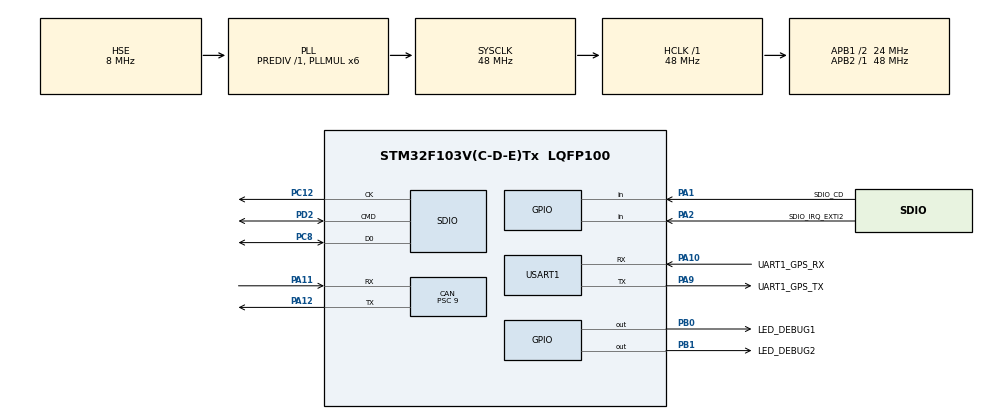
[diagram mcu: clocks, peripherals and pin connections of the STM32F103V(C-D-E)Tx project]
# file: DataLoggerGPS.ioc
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CAN.BS1=CAN_BS1_10TQ
CAN.BS2=CAN_BS2_5TQ
CAN.CalculateTimeBit=6000
CAN.CalculateTimeQuantum=375.0
CAN.Prescaler=9
CAN.SJW=CAN_SJW_3TQ
Mcu.Family=STM32F1
Mcu.Name=STM32F103V(C-D-E)Tx
Mcu.Package=LQFP100
NVIC.CAN1_RX1_IRQn=true\:0\:0\:false\:false\:true\:true
NVIC.PriorityGroup=NVIC_PRIORITYGROUP_4
NVIC.RTC_IRQn=true\:0\:0\:false\:false\:true\:true
NVIC.SDIO_IRQn=true\:0\:0\:false\:false\:true\:true
OSC_IN.Mode=HSE-External-Oscillator
OSC_IN.Signal=RCC_OSC_IN
OSC_OUT.Mode=HSE-External-Oscillator
OSC_OUT.Signal=RCC_OSC_OUT
PA1.GPIO_Label=SDIO_CD
PA1.Signal=GPIO_Input
PA10.GPIO_Label=UART1_GPS_RX
PA10.Mode=Asynchronous
PA10.Signal=USART1_RX
PA11.Mode=Master
PA11.Signal=CAN_RX
PA12.Mode=Master
PA12.Signal=CAN_TX
PA13.Mode=Trace_Asynchronous_SW
PA13.Signal=SYS_JTMS-SWDIO
PA14.Mode=Trace_Asynchronous_SW
PA14.Signal=SYS_JTCK-SWCLK
PA2.GPIO_Label=SDIO_IRQ_EXTI2
PA2.Signal=GPIO_Input
PA9.GPIO_Label=UART1_GPS_TX
PA9.Mode=Asynchronous
PA9.Signal=USART1_TX
PB0.GPIO_Label=LED_DEBUG1
PB0.Signal=GPIO_Output
PB1.GPIO_Label=LED_DEBUG2
PB1.Signal=GPIO_Output
PB3.Mode=Trace_Asynchronous_SW
PB3.Signal=SYS_JTDO-TRACESWO
PC12.Mode=SD_1_bit
PC12.Signal=SDIO_CK
PC14-OSC32_IN.Mode=LSE-External-Oscillator
PC14-OSC32_IN.Signal=RCC_OSC32_IN
PC15-OSC32_OUT.Mode=LSE-External-Oscillator
PC15-OSC32_OUT.Signal=RCC_OSC32_OUT
PC8.Mode=SD_1_bit
PC8.Signal=SDIO_D0
PD2.Mode=SD_1_bit
PD2.Signal=SDIO_CMD
ProjectManager.HeapSize=0x200
ProjectManager.StackSize=0x400
ProjectManager.TargetToolchain=TrueSTUDIO
RCC.AHBFreq_Value=48000000
RCC.APB1CLKDivider=RCC_HCLK_DIV2
RCC.APB1Freq_Value=24000000
RCC.APB1TimFreq_Value=48000000
RCC.APB2Freq_Value=48000000
RCC.APB2TimFreq_Value=48000000
RCC.HCLKFreq_Value=48000000
RCC.PLLMUL=RCC_PLL_MUL6
RCC.PLLSourceVirtual=RCC_PLLSOURCE_HSE
RCC.RTCClockSelection=RCC_RTCCLKSOURCE_LSE
RCC.SYSCLKFreq_VALUE=48000000
RCC.SYSCLKSource=RCC_SYSCLKSOURCE_PLLCLK
RCC.USBFreq_Value=48000000
RTC.Format=RTC_FORMAT_BIN
SDIO.ClockBypass=SDIO_CLOCK_BYPASS_ENABLE
SDIO.ClockDiv=10
SDIO.HardwareFlowControl=SDIO_HARDWARE_FLOW_CONTROL_ENABLE
USART1.VirtualMode=VM_ASYNC
VP_FATFS_VS_SDIO.Mode=SDIO
VP_RTC_VS_RTC_Activate.Mode=RTC_Enabled
VP_RTC_VS_RTC_Calendar.Mode=RTC_Calendar
board=DataLoggerGPS

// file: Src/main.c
/**
  ******************************************************************************
  * File Name          : main.c
  * Description        : Main program body
  ******************************************************************************
  * This notice applies to any and all portions of this file
  * that are not between comment pairs USER CODE BEGIN and
  * USER CODE END. Other portions of this file, whether
  * inserted by the user or by software development tools
  * are owned by their respective copyright owners.
  *
  * Copyright (c) 2018 STMicroelectronics International N.V.
  * All rights reserved.
  *
  * Redistribution and use in source and binary forms, with or without
  * modification, are permitted, provided that the following conditions are met:
  *
  * 1. Redistribution of source code must retain the above copyright notice,
  *    this list of conditions and the following disclaimer.
  * 2. Redistributions in binary form must reproduce the above copyright notice,
  *    this list of conditions and the following disclaimer in the documentation
  *    and/or other materials provided with the distribution.
  * 3. Neither the name of STMicroelectronics nor the names of other
  *    contributors to this software may be used to endorse or promote products
  *    derived from this software without specific written permission.
  * 4. This software, including modifications and/or derivative works of this
  *    software, must execute solely and exclusively on microcontroller or
  *    microprocessor devices manufactured by or for STMicroelectronics.
  * 5. Redistribution and use of this software other than as permitted under
  *    this license is void and will automatically terminate your rights under
  *    this license.
  *
  * THIS SOFTWARE IS PROVIDED BY STMICROELECTRONICS AND CONTRIBUTORS "AS IS"
  * AND ANY EXPRESS, IMPLIED OR STATUTORY WARRANTIES, INCLUDING, BUT NOT
  * LIMITED TO, THE IMPLIED WARRANTIES OF MERCHANTABILITY, FITNESS FOR A
  * PARTICULAR PURPOSE AND NON-INFRINGEMENT OF THIRD PARTY INTELLECTUAL PROPERTY
  * RIGHTS ARE DISCLAIMED TO THE FULLEST EXTENT PERMITTED BY LAW. IN NO EVENT
  * SHALL STMICROELECTRONICS OR CONTRIBUTORS BE LIABLE FOR ANY DIRECT, INDIRECT,
  * INCIDENTAL, SPECIAL, EXEMPLARY, OR CONSEQUENTIAL DAMAGES (INCLUDING, BUT NOT
  * LIMITED TO, PROCUREMENT OF SUBSTITUTE GOODS OR SERVICES; LOSS OF USE, DATA,
  * OR PROFITS; OR BUSINESS INTERRUPTION) HOWEVER CAUSED AND ON ANY THEORY OF
  * LIABILITY, WHETHER IN CONTRACT, STRICT LIABILITY, OR TORT (INCLUDING
  * NEGLIGENCE OR OTHERWISE) ARISING IN ANY WAY OUT OF THE USE OF THIS SOFTWARE,
  * EVEN IF ADVISED OF THE POSSIBILITY OF SUCH DAMAGE.
  *
  ******************************************************************************
  */

#include "main.h"
#include "stm32f1xx_hal.h"
#include "can.h"
#include "fatfs.h"
#include "rtc.h"
#include "sdio.h"
#include "usart.h"
#include "gpio.h"

/* USER CODE BEGIN Includes */

#include "config.h"
#include "data_saver_buffer.h"

#include "can_receiver.h"
#include "rtc_middleware.h"
#include "ms_timer_middleware.h"

#include "action_scheduler.h"

#include "error_logger.h"

/* USER CODE END Includes */

/* USER CODE BEGIN PV */
/* Private variables ---------------------------------------------------------*/

ConfigDataManager_TypeDef	configDataManager;
DataSaverBuffer_TypeDef		dataSaverBuffer;

CANReceiver_TypeDef			CANReceiver;
RTCMiddleware_TypeDef		RTCMiddleware;
MSTimerMiddleware_TypeDef	MSTimer;

ActionScheduler_TypeDef		actionScheduler;

/* USER CODE END PV */

void SystemClock_Config(void);

/* USER CODE BEGIN PFP */
/* Private function prototypes -----------------------------------------------*/

/* USER CODE END PFP */

/* USER CODE BEGIN 0 */

void test_function(){

	  FATFS ff;

	  FRESULT mount_res = f_mount(&ff, "", 1);

	  FIL fil;

	  FRESULT open_res = f_open(&fil, "/test2.txt", FA_READ | FA_WRITE | FA_OPEN_ALWAYS);

	  char text[] = "na ekierce siedzi jez i wrona i kot";
	  uint32_t length = strlen(text);

	  int write_res = f_puts(text, &fil);

	  FRESULT sycc_res = f_sync(&fil);
	  FRESULT close_res = f_close(&fil);

	  while(close_res!=FR_OK){
		  HAL_GPIO_TogglePin(LED_DEBUG2_GPIO_Port, LED_DEBUG2_Pin);
		  HAL_Delay(200);
	  }

}
/* USER CODE END 0 */

int main(void)
{

  /* MCU Configuration----------------------------------------------------------*/

  /* Reset of all peripherals, Initializes the Flash interface and the Systick. */
  HAL_Init();

  /* Configure the system clock */
  SystemClock_Config();

  /* Initialize all configured peripherals */
  MX_GPIO_Init();
  MX_SDIO_SD_Init();
  MX_RTC_Init();
  MX_FATFS_Init();
  MX_CAN_Init();
  MX_USART1_UART_Init();

  /* USER CODE BEGIN 2 */
  FileSystemMiddleware_Status_TypeDef	status1;
  RTCMiddleware_Status_TypeDef			status2;
  MSTimerMiddleware_Status_TypeDef		status3;
  if ((status1 = FileSystemMiddleware_init()) != FileSystemMiddleware_Status_OK){
	  logError(ERROR_FILE_SYSTEM_MIDDLEWARE | status1, "File System init error", 1);
  }
  if ((status2 = RTCMiddleware_init(&RTCMiddleware, &hrtc)) != RTCMiddleware_Status_OK){
	  logError(ERROR_RTC_MIDDLEWARE | status2, "RTC Middleware init error", 1);
  }
  if ((status3 = MSTimerMiddleware_init(&MSTimer)) != MSTimerMiddleware_Status_OK){
	  logError(ERROR_MS_TIMER_MIDDLEWARE | status3, "MS Timer Middleware init error", 1);
  }

  ConfigDataManager_Status_TypeDef		status4;
  DataSaverBuffer_Status_TypeDef		status5;
  CANReceiver_Status_TypeDef			status6;
  if ((status4 = ConfigDataManager_init(&configDataManager)) != ConfigDataManager_Status_OK){
	  logError(ERROR_CONFIG_MANAGER | status4, "Config Data Manager init error", 1);
  }

  if ((status5 = DataSaverBuffer_init(&dataSaverBuffer, &configDataManager)) != DataSaverBuffer_Status_OK){
	  logError(ERROR_DATA_SAVER_BUFFER | status5, "Data Saver Buffer init error", 1);
  }
  if ((status6 = CANReceiver_init(&CANReceiver, &configDataManager, &hcan, &MSTimer)) != CANReceiver_Status_OK){
	  logError(ERROR_CAN_RECEIVER | status6, "CAN Receiver init error", 1);
  }

  ActionScheduler_Status_TypeDef		status7;
  if ((status7 = ActionScheduler_init(&actionScheduler, &configDataManager, &dataSaverBuffer, &CANReceiver, &RTCMiddleware)) != ActionScheduler_Status_OK){
	  logError(ERROR_CAN_ACTION_SCHEDULER | status7, "Action scheduler init error", 1);
  }

  ActionScheduler_startScheduler(&actionScheduler);

  test_function();

  /* USER CODE END 2 */

  /* Infinite loop */
  while (1)
  {

  /* USER CODE BEGIN 3 */
	  HAL_GetTick();
  }
  /* USER CODE END 3 */

}

/** System Clock Configuration
*/
void SystemClock_Config(void)
{

  RCC_OscInitTypeDef RCC_OscInitStruct;
  RCC_ClkInitTypeDef RCC_ClkInitStruct;
  RCC_PeriphCLKInitTypeDef PeriphClkInit;

    /**Initializes the CPU, AHB and APB busses clocks
    */
  RCC_OscInitStruct.OscillatorType = RCC_OSCILLATORTYPE_HSE|RCC_OSCILLATORTYPE_LSE;
  RCC_OscInitStruct.HSEState = RCC_HSE_ON;
  RCC_OscInitStruct.HSEPredivValue = RCC_HSE_PREDIV_DIV1;
  RCC_OscInitStruct.LSEState = RCC_LSE_ON;
  RCC_OscInitStruct.HSIState = RCC_HSI_ON;
  RCC_OscInitStruct.PLL.PLLState = RCC_PLL_ON;
  RCC_OscInitStruct.PLL.PLLSource = RCC_PLLSOURCE_HSE;
  RCC_OscInitStruct.PLL.PLLMUL = RCC_PLL_MUL6;
  if (HAL_RCC_OscConfig(&RCC_OscInitStruct) != HAL_OK)
  {
    _Error_Handler(__FILE__, __LINE__);
  }

    /**Initializes the CPU, AHB and APB busses clocks
    */
  RCC_ClkInitStruct.ClockType = RCC_CLOCKTYPE_HCLK|RCC_CLOCKTYPE_SYSCLK
                              |RCC_CLOCKTYPE_PCLK1|RCC_CLOCKTYPE_PCLK2;
  RCC_ClkInitStruct.SYSCLKSource = RCC_SYSCLKSOURCE_PLLCLK;
  RCC_ClkInitStruct.AHBCLKDivider = RCC_SYSCLK_DIV1;
  RCC_ClkInitStruct.APB1CLKDivider = RCC_HCLK_DIV2;
  RCC_ClkInitStruct.APB2CLKDivider = RCC_HCLK_DIV1;

  if (HAL_RCC_ClockConfig(&RCC_ClkInitStruct, FLASH_LATENCY_1) != HAL_OK)
  {
    _Error_Handler(__FILE__, __LINE__);
  }

  PeriphClkInit.PeriphClockSelection = RCC_PERIPHCLK_RTC;
  PeriphClkInit.RTCClockSelection = RCC_RTCCLKSOURCE_LSE;
  if (HAL_RCCEx_PeriphCLKConfig(&PeriphClkInit) != HAL_OK)
  {
    _Error_Handler(__FILE__, __LINE__);
  }

    /**Configure the Systick interrupt time
    */
  HAL_SYSTICK_Config(HAL_RCC_GetHCLKFreq()/1000);

    /**Configure the Systick
    */
  HAL_SYSTICK_CLKSourceConfig(SYSTICK_CLKSOURCE_HCLK);

  /* SysTick_IRQn interrupt configuration */
  HAL_NVIC_SetPriority(SysTick_IRQn, 0, 0);
}

void _Error_Handler(char * file, int line)
{
  while(1)
  {
  }
}

/************************ (C) COPYRIGHT STMicroelectronics *****END OF FILE****/
